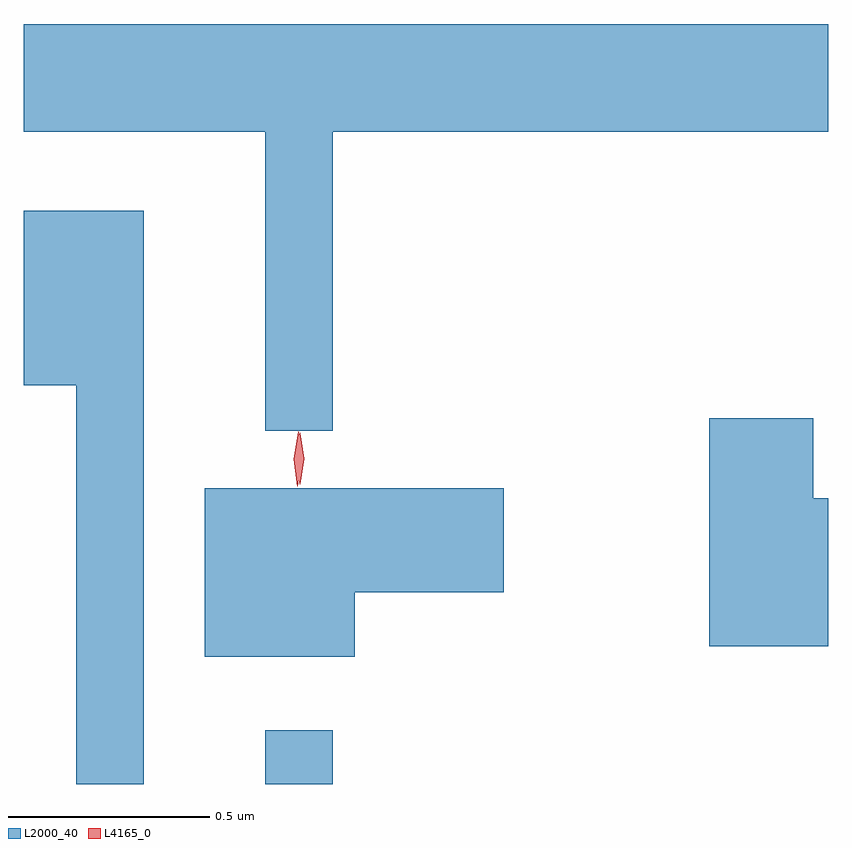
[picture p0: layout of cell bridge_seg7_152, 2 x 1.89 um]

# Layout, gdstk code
import gdstk
lib = gdstk.Library(unit=1e-6, precision=1e-09)
def R(c, l, rs):  # rectangles x0, y0, x1, y1
    for r in rs: c.add(gdstk.rectangle(r[:2], r[2:], *l))
def P(c, l, *ps):  # polygons
    for p in ps: c.add(gdstk.Polygon(p, *l))
L2000_40 = (2000, 40)
L4165_0 = (4165, 0)

bridge_seg7_152 = lib.new_cell('bridge_seg7_152')
R(bridge_seg7_152, L2000_40, [(1598.331,1694.934,1598.499,1695.068)])
P(bridge_seg7_152, L2000_40, [(1598.499,1696.556),(1599.731,1696.556),(1599.731,1696.824),(1597.731,1696.824),(1597.731,1696.556),(1598.331,1696.556),(1598.331,1695.813),(1598.499,1695.813)],
  [(1598.029,1696.359),(1597.731,1696.359),(1597.731,1695.926),(1597.861,1695.926),(1597.861,1694.934),(1598.029,1694.934)],
  [(1599.731,1695.644),(1599.694,1695.644),(1599.694,1695.844),(1599.436,1695.844),(1599.436,1695.276),(1599.731,1695.276)],
  [(1598.554,1695.411),(1598.924,1695.411),(1598.924,1695.669),(1598.181,1695.669),(1598.181,1695.251),(1598.554,1695.251)])
P(bridge_seg7_152, L4165_0, [(1598.411,1695.674),(1598.402,1695.742),(1598.413,1695.81),(1598.413,1695.81),(1598.414,1695.81),(1598.422,1695.742),(1598.412,1695.674),(1598.412,1695.674)],
  [(1598.417,1695.68),(1598.408,1695.743),(1598.417,1695.806),(1598.418,1695.807),(1598.418,1695.806),(1598.428,1695.743),(1598.418,1695.68),(1598.418,1695.68)])

lib.write_gds('bridge_seg7_152.gds')
